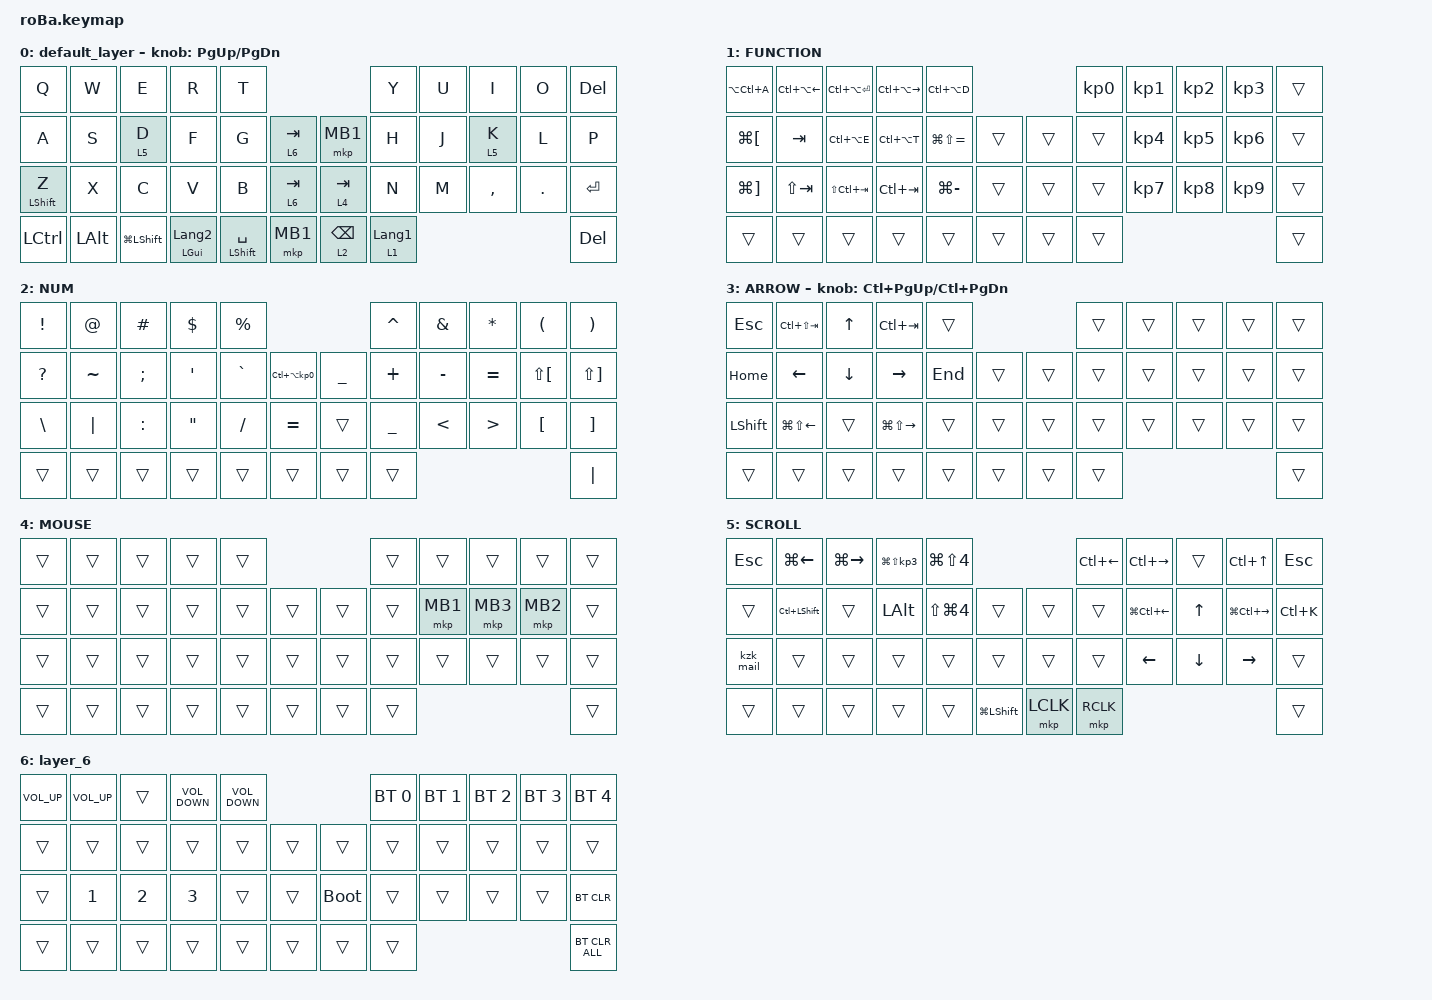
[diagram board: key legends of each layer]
#include <behaviors.dtsi>
#include <dt-bindings/zmk/bt.h>
#include <dt-bindings/zmk/keys.h>
#include <dt-bindings/zmk/pointing.h>

#define MOUSE 4
#define SCROLL 5
#define NUM 6

&mt {
    flavor = "balanced";
    quick-tap-ms = <0>;
};

/ {
    combos {
        compatible = "zmk,combos";

        tab {
            bindings = <&kp TAB>;
            key-positions = <11 12>;
        };

        shift_tab {
            bindings = <&kp LS(TAB)>;
            key-positions = <12 13>;
        };

        double_quotation {
            bindings = <&kp DOUBLE_QUOTES>;
            key-positions = <20 21>;
        };

        eq {
            bindings = <&kp EQUAL>;
            key-positions = <24 25>;
        };
    };

    macros {
        kzk_mail: to_layer_0 {
            compatible = "zmk,behavior-macro";
            #binding-cells = <0>;
            bindings =
                <&kp K>,
                <&macro_tap>,
                <&kp K &kp Z &kp K &kp DOT &kp M &kp K &kp A &kp K &kp AT_SIGN &kp G &kp M &kp A &kp I &kp L &kp DOT &kp C &kp O &kp M>;

            label = "TO_LAYER_0";
        };
    };

    behaviors {
        lt_to_layer_0: lt_to_layer_0 {
            compatible = "zmk,behavior-hold-tap";
            label = "LAYER_TAP_TO_0";
            bindings = <&mo>, <&kzk_mail>;

            #binding-cells = <2>;
            tapping-term-ms = <200>;
        };
    };

    keymap {
        compatible = "zmk,keymap";

        default_layer {
            bindings = <
&kp Q             &kp W         &kp E               &kp R                    &kp T                                                 &kp Y             &kp U  &kp I      &kp O    &kp DEL
&kp A             &kp S         &lt 5 D             &kp F                    &kp G                 &lt 6 TAB      &mkp MB1         &kp H             &kp J  &lt 5 K    &kp L    &kp P
&mt LEFT_SHIFT Z  &kp X         &kp C               &kp V                    &kp B                 &lt 6 TAB      &lt 4 TAB        &kp N             &kp M  &kp COMMA  &kp DOT  &kp ENTER
&kp LCTRL         &kp LEFT_ALT  &kp LG(LEFT_SHIFT)  &mt LEFT_GUI LANGUAGE_2  &mt LEFT_SHIFT SPACE  &mkp MB1       &lt 2 BACKSPACE  &lt 1 LANGUAGE_1                             &kp DEL
            >;

            sensor-bindings = <&inc_dec_kp PG_UP PAGE_DOWN>;
        };

        FUNCTION {
            bindings = <
&kp LA(LC(A))          &kp LC(LA(LEFT_ARROW))  &kp LC(LA(ENTER))  &kp LC(LA(RIGHT))  &kp LC(LA(D))                          &kp KP_N0  &kp KP_N1  &kp KP_N2  &kp KP_N3  &trans
&kp LG(LEFT_BRACKET)   &kp TAB                 &kp LC(LA(E))      &kp LC(LA(T))      &kp LG(LS(EQUAL))  &trans      &trans  &trans     &kp KP_N4  &kp KP_N5  &kp KP_N6  &trans
&kp LG(RIGHT_BRACKET)  &kp LS(TAB)             &kp LS(LC(TAB))    &kp LC(TAB)        &kp LG(MINUS)      &trans      &trans  &trans     &kp KP_N7  &kp KP_N8  &kp KP_N9  &trans
&trans                 &trans                  &trans             &trans             &trans             &trans      &trans  &trans                                      &trans
            >;
        };

        NUM {
            bindings = <
&kp EXCLAMATION  &kp AT     &kp HASH   &kp DOLLAR         &kp PERCENT                                               &kp CARET  &kp AMPERSAND  &kp ASTRK         &kp LEFT_PARENTHESIS  &kp RIGHT_PARENTHESIS
&kp QMARK        &kp TILDE  &kp SEMI   &kp SINGLE_QUOTE   &kp GRAVE    &kp LC(LA(KP_NUMBER_0))      &kp UNDERSCORE  &kp PLUS   &kp MINUS      &kp EQUAL         &kp LS(LEFT_BRACKET)  &kp LS(RIGHT_BRACKET)
&kp BACKSLASH    &kp PIPE   &kp COLON  &kp DOUBLE_QUOTES  &kp SLASH    &kp EQUAL                    &trans          &kp UNDER  &kp LESS_THAN  &kp GREATER_THAN  &kp LEFT_BRACKET      &kp RIGHT_BRACKET
&trans           &trans     &trans     &trans             &trans       &trans                       &trans          &trans                                                            &kp PIPE
            >;
        };

        ARROW {
            bindings = <
&kp ESCAPE      &kp LC(LS(TAB))         &kp UP_ARROW    &kp LC(TAB)              &trans                       &trans  &trans  &trans  &trans  &trans
&kp HOME        &kp LEFT_ARROW          &kp DOWN_ARROW  &kp RIGHT_ARROW          &kp END  &trans      &trans  &trans  &trans  &trans  &trans  &trans
&kp LEFT_SHIFT  &kp LG(LS(LEFT_ARROW))  &trans          &kp LG(LS(RIGHT_ARROW))  &trans   &trans      &trans  &trans  &trans  &trans  &trans  &trans
&trans          &trans                  &trans          &trans                   &trans   &trans      &trans  &trans                          &trans
            >;

            sensor-bindings = <&inc_dec_kp LC(PAGE_UP) LC(PAGE_DOWN)>;
        };

        MOUSE {
            bindings = <
&trans  &trans  &trans  &trans  &trans                      &trans  &trans    &trans    &trans    &trans
&trans  &trans  &trans  &trans  &trans  &trans      &trans  &trans  &mkp MB1  &mkp MB3  &mkp MB2  &trans
&trans  &trans  &trans  &trans  &trans  &trans      &trans  &trans  &trans    &trans    &trans    &trans
&trans  &trans  &trans  &trans  &trans  &trans      &trans  &trans                                &trans
            >;
        };

        SCROLL {
            bindings = <
&kp ESCAPE  &kp LG(LEFT)        &kp LG(RIGHT)  &kp LG(LS(KP_N3))  &kp LG(LS(NUMBER_4))                                     &kp LC(LEFT)  &kp LC(RIGHT)           &trans          &kp LC(UP_ARROW)         &kp ESCAPE
&trans      &kp LC(LEFT_SHIFT)  &trans         &kp LEFT_ALT       &kp LS(LG(N4))        &trans                  &trans     &trans        &kp LG(LC(LEFT_ARROW))  &kp UP_ARROW    &kp LG(LC(RIGHT_ARROW))  &kp LC(K)
&kzk_mail   &trans              &trans         &trans             &trans                &trans                  &trans     &trans        &kp LEFT_ARROW          &kp DOWN_ARROW  &kp RIGHT_ARROW          &trans
&trans      &trans              &trans         &trans             &trans                &kp LG(LEFT_SHIFT)      &mkp LCLK  &mkp RCLK                                                                      &trans
            >;
        };

        layer_6 {
            bindings = <
&kp C_VOLUME_UP  &kp K_VOLUME_UP  &trans        &kp K_VOLUME_DOWN  &kp C_VOLUME_DOWN                           &bt BT_SEL 0  &bt BT_SEL 1  &bt BT_SEL 2  &bt BT_SEL 3  &bt BT_SEL 4
&trans           &trans           &trans        &trans             &trans             &trans      &trans       &trans        &trans        &trans        &trans        &trans
&trans           &kp NUMBER_1     &kp NUMBER_2  &kp NUMBER_3       &trans             &trans      &bootloader  &trans        &trans        &trans        &trans        &bt BT_CLR
&trans           &trans           &trans        &trans             &trans             &trans      &trans       &trans                                                  &bt BT_CLR_ALL
            >;
        };
    };
};
